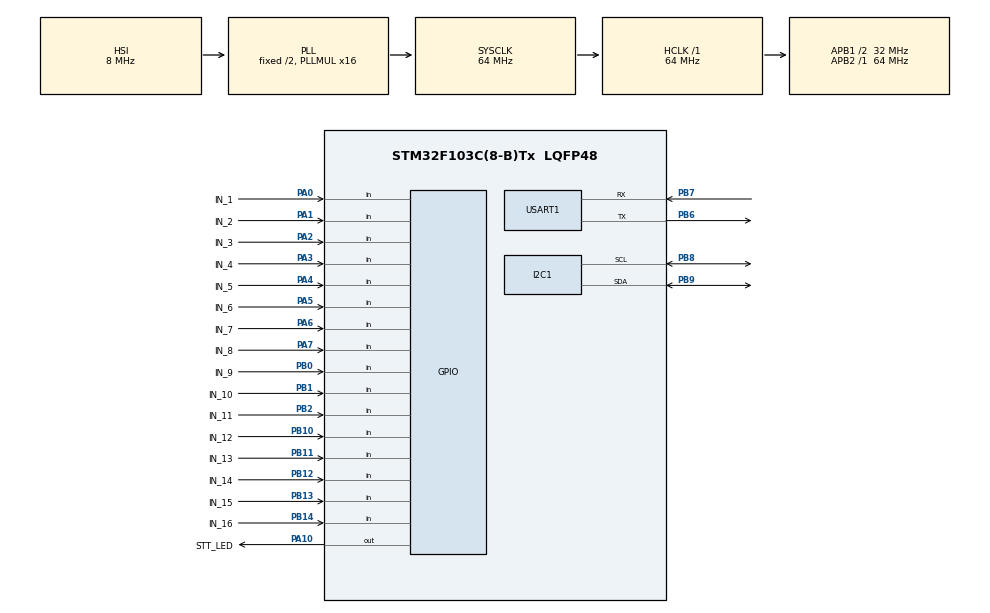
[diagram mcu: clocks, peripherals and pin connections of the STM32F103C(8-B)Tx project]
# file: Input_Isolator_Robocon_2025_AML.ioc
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Dma.Request0=USART1_TX
Dma.USART1_TX.0.Direction=DMA_MEMORY_TO_PERIPH
Dma.USART1_TX.0.Instance=DMA1_Channel4
Dma.USART1_TX.0.MemDataAlignment=DMA_MDATAALIGN_BYTE
Dma.USART1_TX.0.MemInc=DMA_MINC_ENABLE
Dma.USART1_TX.0.Mode=DMA_NORMAL
Dma.USART1_TX.0.PeriphDataAlignment=DMA_PDATAALIGN_BYTE
Dma.USART1_TX.0.PeriphInc=DMA_PINC_DISABLE
Dma.USART1_TX.0.Priority=DMA_PRIORITY_LOW
FREERTOS.Queues01=BitMapQueue01,16,uint32_t,0,Dynamic,NULL,NULL
FREERTOS.Tasks01=ReadIOTask,0,128,StartDefaultTask,Default,NULL,Dynamic,NULL,NULL;SendUartTask,-1,128,StartTask02,Default,NULL,Dynamic,NULL,NULL
Mcu.Family=STM32F1
Mcu.Name=STM32F103C(8-B)Tx
Mcu.Package=LQFP48
NVIC.DMA1_Channel4_IRQn=true\:5\:0\:false\:false\:true\:true\:false\:true\:true
NVIC.PriorityGroup=NVIC_PRIORITYGROUP_4
NVIC.TIM4_IRQn=true\:15\:0\:false\:false\:true\:false\:false\:true\:true
NVIC.TimeBase=TIM4_IRQn
NVIC.TimeBaseIP=TIM4
NVIC.USART1_IRQn=true\:5\:0\:false\:false\:true\:true\:true\:true\:true
PA0-WKUP.GPIO_Label=IN_1
PA0-WKUP.Signal=GPIO_Input
PA1.GPIO_Label=IN_2
PA1.Signal=GPIO_Input
PA10.GPIO_Label=STT_LED
PA10.Signal=GPIO_Output
PA13.Mode=Serial_Wire
PA13.Signal=SYS_JTMS-SWDIO
PA14.Mode=Serial_Wire
PA14.Signal=SYS_JTCK-SWCLK
PA2.GPIO_Label=IN_3
PA2.Signal=GPIO_Input
PA3.GPIO_Label=IN_4
PA3.Signal=GPIO_Input
PA4.GPIO_Label=IN_5
PA4.Signal=GPIO_Input
PA5.GPIO_Label=IN_6
PA5.Signal=GPIO_Input
PA6.GPIO_Label=IN_7
PA6.Signal=GPIO_Input
PA7.GPIO_Label=IN_8
PA7.Signal=GPIO_Input
PB0.GPIO_Label=IN_9
PB0.Signal=GPIO_Input
PB1.GPIO_Label=IN_10
PB1.Signal=GPIO_Input
PB10.GPIO_Label=IN_12
PB10.Signal=GPIO_Input
PB11.GPIO_Label=IN_13
PB11.Signal=GPIO_Input
PB12.GPIO_Label=IN_14
PB12.Signal=GPIO_Input
PB13.GPIO_Label=IN_15
PB13.Signal=GPIO_Input
PB14.GPIO_Label=IN_16
PB14.Signal=GPIO_Input
PB2.GPIO_Label=IN_11
PB2.Signal=GPIO_Input
PB6.Mode=Asynchronous
PB6.Signal=USART1_TX
PB7.Mode=Asynchronous
PB7.Signal=USART1_RX
PB8.Mode=I2C
PB8.Signal=I2C1_SCL
PB9.Mode=I2C
PB9.Signal=I2C1_SDA
ProjectManager.HeapSize=0x200
ProjectManager.StackSize=0x400
ProjectManager.TargetToolchain=CMake
RCC.AHBFreq_Value=64000000
RCC.APB1CLKDivider=RCC_HCLK_DIV2
RCC.APB1Freq_Value=32000000
RCC.APB1TimFreq_Value=64000000
RCC.APB2Freq_Value=64000000
RCC.APB2TimFreq_Value=64000000
RCC.HCLKFreq_Value=64000000
RCC.PLLMUL=RCC_PLL_MUL16
RCC.SYSCLKFreq_VALUE=64000000
RCC.SYSCLKSource=RCC_SYSCLKSOURCE_PLLCLK
RCC.USBFreq_Value=64000000
USART1.VirtualMode=VM_ASYNC
VP_FREERTOS_VS_CMSIS_V1.Mode=CMSIS_V1
VP_SYS_VS_tim4.Mode=TIM4
board=custom

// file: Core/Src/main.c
/* USER CODE BEGIN Header */
/**
  ******************************************************************************
  * @file           : main.c
  * @brief          : Main program body
  ******************************************************************************
  * @attention
  *
  * Copyright (c) 2026 STMicroelectronics.
  * All rights reserved.
  *
  * This software is licensed under terms that can be found in the LICENSE file
  * in the root directory of this software component.
  * If no LICENSE file comes with this software, it is provided AS-IS.
  *
  ******************************************************************************
  */
/* USER CODE END Header */
#include "main.h"
#include "cmsis_os.h"
#include "dma.h"
#include "i2c.h"
#include "usart.h"
#include "gpio.h"

/* USER CODE BEGIN Includes */
#include <stdarg.h>
#include <stdint.h>
#include <string.h>
#include "freertos.h"
/* USER CODE END Includes */

/* USER CODE BEGIN PV */
char uart_buffer[100];
static volatile uint8_t uart_dma_busy = 0;
/* USER CODE END PV */

void SystemClock_Config(void);
void MX_FREERTOS_Init(void);

/* USER CODE BEGIN 0 */
void uart_printf(const char *format, ...)
{
    /* Clear buffer first */
    memset(uart_buffer, 0, sizeof(uart_buffer));

    va_list args;
    va_start(args, format);

    /* Format string safely - vsnprintf ensures null-termination */
    int len = vsnprintf(uart_buffer, sizeof(uart_buffer), format, args);
    va_end(args);

    /* Handle formatting errors and bounds */
    if (len < 0) len = 0;
    if (len >= (int)sizeof(uart_buffer)) len = sizeof(uart_buffer) - 1;

    /* Transmit actual formatted data over DMA; wait briefly if previous DMA in progress */
    if (len > 0) {
      uint32_t spin = 0;
      while (uart_dma_busy && spin < 5000) { /* ~short spin wait */
        spin++;
      }

      if (uart_dma_busy || HAL_UART_GetState(&huart1) != HAL_UART_STATE_READY) {
        return; // UART still busy; drop this log
      }

      uart_dma_busy = 1;
      HAL_StatusTypeDef status = HAL_UART_Transmit_DMA(&huart1, (uint8_t*)uart_buffer, len);
      if (status != HAL_OK) {
        uart_dma_busy = 0; // Release on failure
      }
    }
}

/* USER CODE END 0 */

int main(void)
{

  /* MCU Configuration--------------------------------------------------------*/

  /* Reset of all peripherals, Initializes the Flash interface and the Systick. */
  HAL_Init();

  /* Configure the system clock */
  SystemClock_Config();

  /* Initialize all configured peripherals */
  MX_GPIO_Init();
  MX_DMA_Init();
  MX_I2C1_Init();
  MX_USART1_UART_Init();

  /* Call init function for freertos objects (in cmsis_os2.c) */
  MX_FREERTOS_Init();

  /* Start scheduler */
  osKernelStart();

  /* We should never get here as control is now taken by the scheduler */

  /* Infinite loop */
  while (1)
  {

  }
}

void SystemClock_Config(void)
{
  RCC_OscInitTypeDef RCC_OscInitStruct = {0};
  RCC_ClkInitTypeDef RCC_ClkInitStruct = {0};

  /** Initializes the RCC Oscillators according to the specified parameters
  * in the RCC_OscInitTypeDef structure.
  */
  RCC_OscInitStruct.OscillatorType = RCC_OSCILLATORTYPE_HSI;
  RCC_OscInitStruct.HSIState = RCC_HSI_ON;
  RCC_OscInitStruct.HSICalibrationValue = RCC_HSICALIBRATION_DEFAULT;
  RCC_OscInitStruct.PLL.PLLState = RCC_PLL_ON;
  RCC_OscInitStruct.PLL.PLLSource = RCC_PLLSOURCE_HSI_DIV2;
  RCC_OscInitStruct.PLL.PLLMUL = RCC_PLL_MUL16;
  if (HAL_RCC_OscConfig(&RCC_OscInitStruct) != HAL_OK)
  {
    Error_Handler();
  }

  /** Initializes the CPU, AHB and APB buses clocks
  */
  RCC_ClkInitStruct.ClockType = RCC_CLOCKTYPE_HCLK|RCC_CLOCKTYPE_SYSCLK
                              |RCC_CLOCKTYPE_PCLK1|RCC_CLOCKTYPE_PCLK2;
  RCC_ClkInitStruct.SYSCLKSource = RCC_SYSCLKSOURCE_PLLCLK;
  RCC_ClkInitStruct.AHBCLKDivider = RCC_SYSCLK_DIV1;
  RCC_ClkInitStruct.APB1CLKDivider = RCC_HCLK_DIV2;
  RCC_ClkInitStruct.APB2CLKDivider = RCC_HCLK_DIV1;

  if (HAL_RCC_ClockConfig(&RCC_ClkInitStruct, FLASH_LATENCY_2) != HAL_OK)
  {
    Error_Handler();
  }
}

void HAL_TIM_PeriodElapsedCallback(TIM_HandleTypeDef *htim)
{
  if (htim->Instance == TIM4)
  {
    HAL_IncTick();
  }
}

void Error_Handler(void)
{
  __disable_irq();
  while (1)
  {
  }
}

void HAL_UART_TxCpltCallback(UART_HandleTypeDef *huart)
{
  if (huart == &huart1) {
    uart_dma_busy = 0;
  }
}

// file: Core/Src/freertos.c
/* USER CODE BEGIN Header */
/**
  ******************************************************************************
  * File Name          : freertos.c
  * Description        : Code for freertos applications
  ******************************************************************************
  * @attention
  *
  * Copyright (c) 2026 STMicroelectronics.
  * All rights reserved.
  *
  * This software is licensed under terms that can be found in the LICENSE file
  * in the root directory of this software component.
  * If no LICENSE file comes with this software, it is provided AS-IS.
  *
  ******************************************************************************
  */
/* USER CODE END Header */

#include "FreeRTOS.h"
#include "task.h"
#include "main.h"
#include "cmsis_os.h"

/* USER CODE BEGIN Includes */
#include "main.h"
#include "gpio.h"
#include "usart.h"
/* USER CODE END Includes */

/* USER CODE BEGIN PTD */
typedef struct State_IO {
  uint8_t in1;
  uint8_t in2;
  uint8_t in3;
  uint8_t in4;
  uint8_t in5;
  uint8_t in6;
  uint8_t in7;
  uint8_t in8;
  uint8_t in9;
  uint8_t in10;
  uint8_t in11;
  uint8_t in12;
  uint8_t in13;
  uint8_t in14;
  uint8_t in15;
  uint8_t in16;
} State_IO;
/* USER CODE END PTD */

osThreadId ReadIOTaskHandle;
osThreadId SendUartTaskHandle;
osMessageQId BitMapQueue01Handle;

/* USER CODE BEGIN FunctionPrototypes */
static uint16_t Read_GPIO_Bitmap(void);
void ReadIOTask(void const * argument);
void SendUartTask(void const * argument);
/* USER CODE END FunctionPrototypes */

void StartDefaultTask(void const * argument);
void StartTask02(void const * argument);

void MX_FREERTOS_Init(void); /* (MISRA C 2004 rule 8.1) */

/* GetIdleTaskMemory prototype (linked to static allocation support) */
void vApplicationGetIdleTaskMemory( StaticTask_t **ppxIdleTaskTCBBuffer, StackType_t **ppxIdleTaskStackBuffer, uint32_t *pulIdleTaskStackSize );

/* USER CODE BEGIN GET_IDLE_TASK_MEMORY */
static StaticTask_t xIdleTaskTCBBuffer;
static StackType_t xIdleStack[configMINIMAL_STACK_SIZE];

void vApplicationGetIdleTaskMemory( StaticTask_t **ppxIdleTaskTCBBuffer, StackType_t **ppxIdleTaskStackBuffer, uint32_t *pulIdleTaskStackSize )
{
  *ppxIdleTaskTCBBuffer = &xIdleTaskTCBBuffer;
  *ppxIdleTaskStackBuffer = &xIdleStack[0];
  *pulIdleTaskStackSize = configMINIMAL_STACK_SIZE;
  /* place for user code */
}
/* USER CODE END GET_IDLE_TASK_MEMORY */

/* Helper Functions */
static uint16_t Read_GPIO_Bitmap(void)
{
    uint16_t bitmap = 0;
    bitmap |= (HAL_GPIO_ReadPin(IN_1_GPIO_Port, IN_1_Pin) << 0);
    bitmap |= (HAL_GPIO_ReadPin(IN_2_GPIO_Port, IN_2_Pin) << 1);
    bitmap |= (HAL_GPIO_ReadPin(IN_3_GPIO_Port, IN_3_Pin) << 2);
    bitmap |= (HAL_GPIO_ReadPin(IN_4_GPIO_Port, IN_4_Pin) << 3);
    bitmap |= (HAL_GPIO_ReadPin(IN_5_GPIO_Port, IN_5_Pin) << 4);
    bitmap |= (HAL_GPIO_ReadPin(IN_6_GPIO_Port, IN_6_Pin) << 5);
    bitmap |= (HAL_GPIO_ReadPin(IN_7_GPIO_Port, IN_7_Pin) << 6);
    bitmap |= (HAL_GPIO_ReadPin(IN_8_GPIO_Port, IN_8_Pin) << 7);
    bitmap |= (HAL_GPIO_ReadPin(IN_9_GPIO_Port, IN_9_Pin) << 8);
    bitmap |= (HAL_GPIO_ReadPin(IN_10_GPIO_Port, IN_10_Pin) << 9);
    bitmap |= (HAL_GPIO_ReadPin(IN_11_GPIO_Port, IN_11_Pin) << 10);
    bitmap |= (HAL_GPIO_ReadPin(IN_12_GPIO_Port, IN_12_Pin) << 11);
    bitmap |= (HAL_GPIO_ReadPin(IN_13_GPIO_Port, IN_13_Pin) << 12);
    bitmap |= (HAL_GPIO_ReadPin(IN_14_GPIO_Port, IN_14_Pin) << 13);
    bitmap |= (HAL_GPIO_ReadPin(IN_15_GPIO_Port, IN_15_Pin) << 14);
    bitmap |= (HAL_GPIO_ReadPin(IN_16_GPIO_Port, IN_16_Pin) << 15);
    return bitmap;
}

void MX_FREERTOS_Init(void) {

  /* Create the queue(s) */
  /* definition and creation of BitMapQueue01 */
  osMessageQDef(BitMapQueue01, 128, uint32_t);
  BitMapQueue01Handle = osMessageCreate(osMessageQ(BitMapQueue01), NULL);

  /* Create the thread(s) */
  /* definition and creation of ReadIOTask */
  osThreadDef(ReadIOTask, StartDefaultTask, osPriorityNormal, 0, 128);
  ReadIOTaskHandle = osThreadCreate(osThread(ReadIOTask), NULL);

  /* definition and creation of SendUartTask */
  osThreadDef(SendUartTask, StartTask02, osPriorityBelowNormal, 0, 128);
  SendUartTaskHandle = osThreadCreate(osThread(SendUartTask), NULL);

}

void StartDefaultTask(void const * argument)
{
  /* USER CODE BEGIN StartInputReadTask */
  uint16_t io_bitmap;
  static int read_count = 0;

  for(;;)
  {
    // Đọc trạng thái 16 GPIO pins thành bitmap
    io_bitmap = Read_GPIO_Bitmap();

    // Gửi vào queue (non-blocking)
    osMessagePut(BitMapQueue01Handle, io_bitmap, 10);

    // Debug: Print mỗi 100 lần đọc
    read_count++;
    if (read_count >= 100) {
      read_count = 0;
      uart_printf("[READ] bitmap=0x%04X\r\n", io_bitmap);
    }

    // đang đoc bao nhiều hz =
    osDelay(1);
  }
  /* USER CODE END StartDefaultTask */
}

void StartTask02(void const * argument)
{
  /* USER CODE BEGIN StartInputSendTask */
  osEvent event;
  uint16_t io_bitmap;
  static int send_count = 0;
  static int queue_empty_count = 0;

  for(;;)
  {
    // Nhận dữ liệu từ queue (chờ tối đa 50ms)
    event = osMessageGet(BitMapQueue01Handle, 50);

    if(event.status == osEventMessage)
    {
      io_bitmap = event.value.v;  // Lấy giá trị từ queue

      // Bảo vệ UART

      // Gửi định dạng: "IN:0xABCD"
      uart_printf("IN:0x%04X\r\n", io_bitmap);

      send_count++;
    }
    else
3    {
      queue_empty_count++;

      // Debug mỗi 20 lần queue trống
      if (queue_empty_count >= 20) {
        queue_empty_count = 0;

        uart_printf("[SEND] Queue empty, sent=%d\r\n", send_count);

      }
    }

    osDelay(10);
  }
  /* USER CODE END StartTask02 */
}
